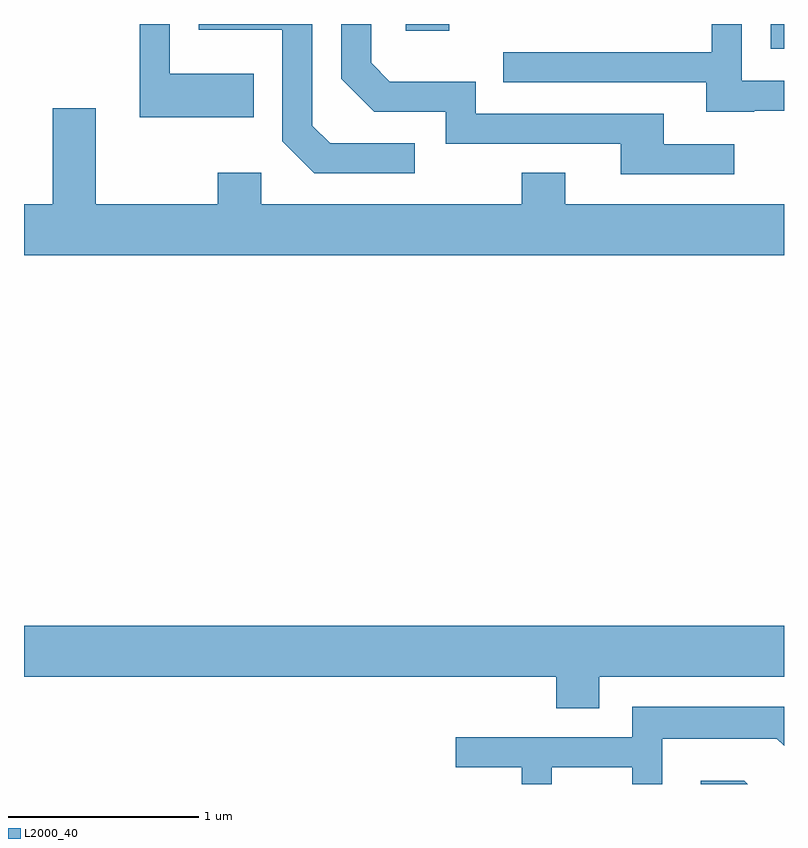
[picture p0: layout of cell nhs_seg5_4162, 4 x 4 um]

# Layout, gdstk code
import gdstk
lib = gdstk.Library(unit=1e-6, precision=1e-09)
def R(c, l, rs):  # rectangles x0, y0, x1, y1
    for r in rs: c.add(gdstk.rectangle(r[:2], r[2:], *l))
def P(c, l, *ps):  # polygons
    for p in ps: c.add(gdstk.Polygon(p, *l))
L2000_40 = (2000, 40)

nhs_seg5_4162 = lib.new_cell('nhs_seg5_4162')
R(nhs_seg5_4162, L2000_40, [(313.541,1397.943,313.611,1398.072), (311.621,1398.036,311.849,1398.072)])
P(nhs_seg5_4162, L2000_40, [(311.668,1397.444),(311.222,1397.444),(311.129,1397.537),(311.129,1398.072),(310.531,1398.072),(310.531,1398.041),(310.971,1398.041),(310.971,1397.454),(311.139,1397.286),(311.668,1397.286)],
  [(313.348,1397.439),(312.979,1397.439),(312.979,1397.599),(311.989,1397.599),(311.989,1397.769),(311.537,1397.769),(311.439,1397.867),(311.439,1398.072),(311.281,1398.072),(311.281,1397.784),(311.454,1397.611),(311.831,1397.611),(311.831,1397.441),(312.751,1397.441),(312.751,1397.281),(313.348,1397.281)],
  [(310.819,1397.809),(310.379,1397.809),(310.379,1398.072),(310.221,1398.072),(310.221,1397.581),(310.819,1397.581)],
  [(313.455,1397.616),(313.611,1397.616),(313.611,1397.774),(313.389,1397.774),(313.389,1398.072),(313.231,1398.072),(313.231,1397.924),(312.133,1397.924),(312.133,1397.766),(313.201,1397.766),(313.201,1397.611),(313.455,1397.611)],
  [(313.611,1397.124),(312.459,1397.124),(312.459,1397.289),(312.231,1397.289),(312.231,1397.124),(310.859,1397.124),(310.859,1397.289),(310.631,1397.289),(310.631,1397.124),(309.989,1397.124),(309.989,1397.629),(309.761,1397.629),(309.761,1397.124),(309.611,1397.124),(309.611,1396.856),(313.611,1396.856)],
  [(312.639,1394.636),(313.611,1394.636),(313.611,1394.904),(309.611,1394.904),(309.611,1394.636),(312.411,1394.636),(312.411,1394.471),(312.639,1394.471)],
  [(312.389,1394.161),(312.811,1394.161),(312.811,1394.072),(312.969,1394.072),(312.969,1394.311),(313.574,1394.311),(313.611,1394.274),(313.611,1394.479),(312.811,1394.479),(312.811,1394.319),(311.883,1394.319),(311.883,1394.161),(312.231,1394.161),(312.231,1394.072),(312.389,1394.072)],
  [(313.402,1394.089),(313.173,1394.089),(313.173,1394.072),(313.419,1394.072)])

lib.write_gds('nhs_seg5_4162.gds')
